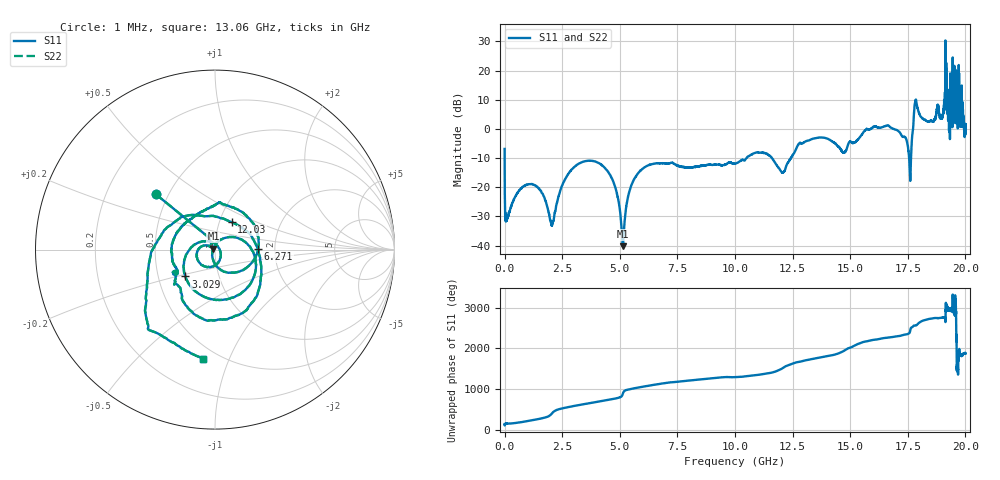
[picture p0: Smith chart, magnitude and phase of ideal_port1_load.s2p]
! Created with skrf (http://scikit-rf.org).
# GHz S RI R 50.0
!freq ReS11 ImS11 ReS21 ImS21 ReS12 ImS12 ReS22 ImS22
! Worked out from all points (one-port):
!   10001 points, 1 MHz to 20 GHz, reference 50 ohm
!   lowest |S11| = -40.2 dB at 5.125 GHz (marker M1), VSWR 1.02, Z = 49.2 + j0.479 ohm
!   |S11| at or under -10 dB: 1.933 MHz to 10.5 GHz (10.5 GHz wide, 200 % of centre); 11.6 GHz to 12.43 GHz (822.8 MHz wide, 6.85 % of centre); 17.55869 GHz to 17.64031 GHz (81.62 MHz wide, 0.464 % of centre)
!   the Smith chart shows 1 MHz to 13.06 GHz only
!   S11 on the Smith chart (normalised r, x): 1 MHz: 0.43, +0.33; 3.029 GHz: 0.69, -0.22; 6.271 GHz: 1.63, +0.01; 12.03 GHz: 1.14, +0.36; 13.06 GHz: 0.42, -0.81
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0.001  -0.3312 0.3098  0 0  0 0  -0.3312 0.3098
2.054897  0.0181 0.0122  0 0  0 0  0.0181 0.0122
3.028849  -0.165 -0.1495  0 0  0 0  -0.165 -0.1495
3.334833  -0.0738 -0.2568  0 0  0 0  -0.0738 -0.2568
5.124744  -0.0085 0.00487  0 0  0 0  -0.0085 0.00487
6.270687  0.2403 0.00341  0 0  0 0  0.2403 0.00341
6.668667  0.2023 0.1575  0 0  0 0  0.2023 0.1575
10.0005  -0.2178 -0.1301  0 0  0 0  -0.2178 -0.1301
12.0344  0.0928 0.1517  0 0  0 0  0.0928 0.1517
13.06435  -0.0668 -0.6073  0 0  0 0  -0.0668 -0.6073
13.33433  0.2894 -0.6034  0 0  0 0  0.2894 -0.6034
14.95425  -0.5212 -0.2704  0 0  0 0  -0.5212 -0.2704
15.72221  0.9798 0.205  0 0  0 0  0.9798 0.205
16.66817  -0.2716 1.097  0 0  0 0  -0.2716 1.097
17.43413  -0.6665 -0.0248  0 0  0 0  -0.6665 -0.0248
17.64612  0.3598 -0.0975  0 0  0 0  0.3598 -0.0975
17.81611  2.115 1.8  0 0  0 0  2.115 1.8
18.11809  -1.349 0.7333  0 0  0 0  -1.349 0.7333
19.03205  -1.126 -1.493  0 0  0 0  -1.126 -1.493
19.24204  0.9039 1.798  0 0  0 0  0.9039 1.798
19.60402  -1.161 -2.229  0 0  0 0  -1.161 -2.229
20  0.383 1.141  0 0  0 0  0.383 1.141
